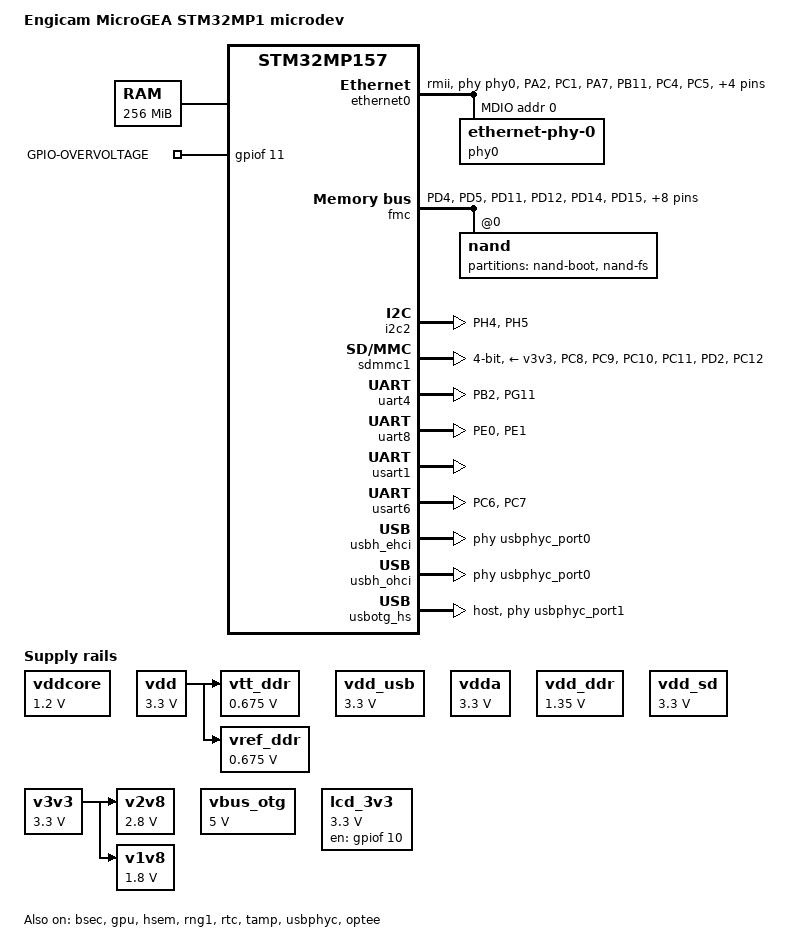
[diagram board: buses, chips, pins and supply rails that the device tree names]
	/* SPDX-License-Identifier: (GPL-2.0+ OR BSD-3-Clause) */
	/*
	* Copyright (C) STMicroelectronics 2020 - All Rights Reserved
	* Author: STM32CubeMX code generation for STMicroelectronics.
	*/

	/* For more information on Device Tree configuration, please refer to
	* https://wiki.st.com/stm32mpu/wiki/Category:Device_tree_configuration
	*/

/dts-v1/;
#include <dt-bindings/pinctrl/stm32-pinfunc.h>

#include "stm32mp157.dtsi"
#include "stm32mp15xa.dtsi"
#include "stm32mp15xxac-pinctrl.dtsi"
#include "stm32mp157-m4-srm.dtsi"

/ {
	model = "Engicam MicroGEA STM32MP1 microdev";
	compatible = "st,stm32mp157a-ugeast-mx", "st,stm32mp157";

	aliases {
		ethernet0 = &ethernet0;
		serial0 = &uart4;
		serial1 = &uart8;
		serial2 = &usart3;
		serial3 = &uart7;
		serial4 = &usart1;
	};

	usb_phy_tuning: usb-phy-tuning {
		st,hs-dc-level = <2>;
		st,fs-rftime-tuning;
		st,hs-rftime-reduction;
		st,hs-current-trim = <15>;
		st,hs-impedance-trim = <1>;
		st,squelch-level = <3>;
		st,hs-rx-offset = <2>;
		st,no-lsfs-sc;
	};

	memory@c0000000 {
		device_type = "memory";
		reg = <0xc0000000 0x10000000>;

		/* USER CODE BEGIN memory */
		/* USER CODE END memory */
	};

	reserved-memory {
		#address-cells = <1>;
		#size-cells = <1>;
		ranges;

		gpu_reserved: gpu@da000000 {
			reg = <0xda000000 0x4000000>;
			no-map;
		};

		optee_memory: optee@0xde000000 {
			reg = <0xde000000 0x02000000>;
			no-map;
		};
	};


	/* USER CODE BEGIN root */
	vddcore: regulator-vddcore {
		compatible = "regulator-fixed";
		regulator-name = "vddcore";
		regulator-min-microvolt = <1200000>;
		regulator-max-microvolt = <1200000>;
		regulator-always-on;
	};

	vdd: regulator-vdd {
		compatible = "regulator-fixed";
		regulator-name = "vdd";
		regulator-min-microvolt = <3300000>;
		regulator-max-microvolt = <3300000>;
		regulator-always-on;
	};

	vdd_usb: regulator-vdd_usb {
		compatible = "regulator-fixed";
		regulator-name = "vdd_usb";
		regulator-min-microvolt = <3300000>;
		regulator-max-microvolt = <3300000>;
		regulator-always-on;
	};

	vdda: regulator-vdda {
		compatible = "regulator-fixed";
		regulator-name = "vdda";
		regulator-min-microvolt = <3300000>;
		regulator-max-microvolt = <3300000>;
		regulator-always-on;
	};

	vdd_ddr: regulator-vdd_ddr {
		compatible = "regulator-fixed";
		regulator-name = "vdd_ddr";
		regulator-min-microvolt = <1350000>;
		regulator-max-microvolt = <1350000>;
		regulator-always-on;
	};

	vtt_ddr: regulator-vtt_ddr {
		compatible = "regulator-fixed";
		regulator-name = "vtt_ddr";
		regulator-min-microvolt = <675000>;
		regulator-max-microvolt = <675000>;
		regulator-always-on;
		vin-supply = <&vdd>;
	};

	vref_ddr: regulator-vref_ddr {
		compatible = "regulator-fixed";
		regulator-name = "vref_ddr";
		regulator-min-microvolt = <675000>;
		regulator-max-microvolt = <675000>;
		regulator-always-on;
		vin-supply = <&vdd>;
	};

	vdd_sd: regulator-vdd_sd {
		compatible = "regulator-fixed";
		regulator-name = "vdd_sd";
		regulator-min-microvolt = <3300000>;
		regulator-max-microvolt = <3300000>;
		regulator-always-on;
	};

	v3v3: regulator-v3v3 {
		compatible = "regulator-fixed";
		regulator-name = "v3v3";
		regulator-min-microvolt = <3300000>;
		regulator-max-microvolt = <3300000>;
		regulator-always-on;
	};

	v2v8: regulator-v2v8 {
		compatible = "regulator-fixed";
		regulator-name = "v2v8";
		regulator-min-microvolt = <2800000>;
		regulator-max-microvolt = <2800000>;
		regulator-always-on;
		vin-supply = <&v3v3>;
	};

	v1v8: regulator-v1v8 {
		compatible = "regulator-fixed";
		regulator-name = "v1v8";
		regulator-min-microvolt = <1800000>;
		regulator-max-microvolt = <1800000>;
		regulator-always-on;
		vin-supply = <&v3v3>;
	};

	vbus_otg: regulator-vbus_otg {
		compatible = "regulator-fixed";
		regulator-name = "vbus_otg";
		regulator-min-microvolt = <5000000>;
		regulator-max-microvolt = <5000000>;
		regulator-always-on;
	};
	
	lcd_3v3: regulator-lcd_3v3 {
		compatible = "regulator-fixed";
		regulator-name = "lcd_3v3";
		regulator-min-microvolt = <3300000>;
		regulator-max-microvolt = <3300000>;
		gpio = <&gpiof 10 0>;
		enable-active-high;
		regulator-always-on;
	};
	/* USER CODE END root */

	clocks {
		#ifndef CONFIG_STM32MP1_TRUSTED
		clk_lsi: clk-lsi {
			clock-frequency = <32000>;
		};
		clk_hsi: clk-hsi {
			clock-frequency = <64000000>;
		};
		clk_csi: clk-csi {
			clock-frequency = <4000000>;
		};
		clk_lse: clk-lse {
			clock-frequency = <32768>;
		};
		clk_hse: clk-hse {
			clock-frequency = <24000000>;
		};
	#endif	/*CONFIG_STM32MP1_TRUSTED*/
	};

	gpio_export {
		compatible = "gpio-export";
		#size-cells = <0>;
		gpio-overvoltage {
			gpio-export,name = "GPIO-OVERVOLTAGE";
			gpio-export,output = <0>;
			gpios = <&gpiof 11 0>;
		};
	};
};

&pinctrl {
	u-boot,dm-pre-reloc;

	eth1_pins_mx: eth1_mx-0 {
		pins1 {
			pinmux = <STM32_PINMUX('A', 2, AF11)>, /* ETH_MDIO */
				<STM32_PINMUX('C', 1, AF11)>, /* ETH_MDC */
				<STM32_PINMUX('A', 7, AF11)>, /* ETH_RX_DV */
				<STM32_PINMUX('B', 11, AF11)>, /* ETH_TX_EN */
				<STM32_PINMUX('C', 4, AF11)>, /* ETH_RX_D0 */
				<STM32_PINMUX('C', 5, AF11)>, /* ETH_RX_D1 */
				<STM32_PINMUX('G', 13, AF11)>, /* ETH_TX_D0 */
				<STM32_PINMUX('G', 14, AF11)>; /* ETH_TX_D1 */
			bias-disable;
			drive-push-pull;
			slew-rate = <3>;
		};

		pins2 {
			pinmux = <STM32_PINMUX('A', 1, AF0)>; /* ETH_CLK */
			bias-disable;
			slew-rate = <1>;
		};
	};

	eth_res: eth_res-0 {
		pins {
			pinmux = <STM32_PINMUX('A', 13, GPIO)>;
			bias-disable;
			drive-push-pull;
			output-high;
			slew-rate = <0>;
		};
	};

	fdcan1_pins_mx: fdcan1_mx-0 {
		pins1 {
			pinmux = <STM32_PINMUX('B', 9, AF9)>; /* FDCAN1_TX */
			bias-disable;
			drive-push-pull;
			slew-rate = <0>;
		};
		pins2 {
			pinmux = <STM32_PINMUX('I', 9, AF9)>; /* FDCAN1_RX */
			bias-disable;
		};
	};

	fmc_pins_mx: fmc_mx-0 {
		pins1 {
				pinmux = <STM32_PINMUX('D', 4, AF12)>, /* FMC_NOE */
								<STM32_PINMUX('D', 5, AF12)>, /* FMC_NWE */
								<STM32_PINMUX('D', 11, AF12)>, /* FMC_A16_FMC_CLE */
								<STM32_PINMUX('D', 12, AF12)>, /* FMC_A17_FMC_ALE */
								<STM32_PINMUX('D', 14, AF12)>, /* FMC_D0 */
								<STM32_PINMUX('D', 15, AF12)>, /* FMC_D1 */
								<STM32_PINMUX('D', 0, AF12)>, /* FMC_D2 */
								<STM32_PINMUX('D', 1, AF12)>, /* FMC_D3 */
								<STM32_PINMUX('E', 7, AF12)>, /* FMC_D4 */
								<STM32_PINMUX('E', 8, AF12)>, /* FMC_D5 */
								<STM32_PINMUX('E', 9, AF12)>, /* FMC_D6 */
								<STM32_PINMUX('E', 10, AF12)>, /* FMC_D7 */
								<STM32_PINMUX('G', 9, AF12)>; /* FMC_NE2_FMC_NCE */
				bias-disable;
				drive-push-pull;
				slew-rate = <1>;
		};
		pins2 {
				pinmux = <STM32_PINMUX('D', 6, AF12)>; /* FMC_NWAIT */
				bias-pull-up;
		};
	};

	i2c2_pins_mx: i2c2_mx-0 {
		pins {
			pinmux = <STM32_PINMUX('H', 4, AF4)>, /* I2C2_SCL */
						<STM32_PINMUX('H', 5, AF4)>; /* I2C2_SDA */
			bias-disable;
			drive-open-drain;
			slew-rate = <0>;
		};
	};

	rtc_pins_mx: rtc_mx-0 {
		pins {
			pinmux = <STM32_PINMUX('I', 8, ANALOG)>; /* RTC_LSCO */
		};
	};

	sai2b_pins_mx: sai2b_mx-0 {
		pins {
			pinmux = <STM32_PINMUX('E', 11, AF10)>, /* SAI2_SD_B */
						<STM32_PINMUX('E', 12, AF10)>, /* SAI2_SCK_B */
						<STM32_PINMUX('E', 13, AF10)>, /* SAI2_FS_B */
						<STM32_PINMUX('E', 14, AF10)>; /* SAI2_MCLK_B */
			bias-disable;
			drive-push-pull;
			slew-rate = <0>;
		};
	};

	sdmmc1_pins_mx: sdmmc1_mx-0 {
		u-boot,dm-pre-reloc;
		pins1 {
			pinmux = <STM32_PINMUX('C', 8, AF12)>, /* SDMMC1_D0 */
								<STM32_PINMUX('C', 9, AF12)>, /* SDMMC1_D1 */
								<STM32_PINMUX('C', 10, AF12)>, /* SDMMC1_D2 */
								<STM32_PINMUX('C', 11, AF12)>, /* SDMMC1_D3 */
								<STM32_PINMUX('D', 2, AF12)>; /* SDMMC1_CMD */
			slew-rate = <3>;
			drive-push-pull;
			bias-pull-up;
		};
		pins2 {
			pinmux = <STM32_PINMUX('C', 12, AF12)>; /* SDMMC1_CK */
			slew-rate = <3>;
			drive-push-pull;
			bias-pull-down;
		};
	};

	sdmmc1_opendrain_pins_mx: sdmmc1_opendrain_mx-0 {
		u-boot,dm-pre-reloc;
		pins1 {
			u-boot,dm-pre-reloc;
			pinmux = <STM32_PINMUX('C', 8, AF12)>, /* SDMMC1_D0 */
						<STM32_PINMUX('C', 9, AF12)>, /* SDMMC1_D1 */
						<STM32_PINMUX('C', 10, AF12)>, /* SDMMC1_D2 */
						<STM32_PINMUX('C', 11, AF12)>; /* SDMMC1_D3 */
			bias-disable;
			drive-push-pull;
			slew-rate = <1>;
		};
		pins2 {
			u-boot,dm-pre-reloc;
			pinmux = <STM32_PINMUX('C', 12, AF12)>; /* SDMMC1_CK */
			bias-disable;
			drive-push-pull;
			slew-rate = <3>;
		};
		pins3 {
			u-boot,dm-pre-reloc;
			pinmux = <STM32_PINMUX('D', 2, AF12)>; /* SDMMC1_CMD */
			bias-disable;
			drive-open-drain;
			slew-rate = <1>;
		};
	};

	uart4_pins_mx: uart4_mx-0 {
		u-boot,dm-pre-reloc;
		pins1 {
			u-boot,dm-pre-reloc;
			pinmux = <STM32_PINMUX('B', 2, AF8)>; /* UART4_RX */
			bias-disable;
		};
		pins2 {
			u-boot,dm-pre-reloc;
			pinmux = <STM32_PINMUX('G', 11, AF6)>; /* UART4_TX */
			bias-disable;
			drive-push-pull;
			slew-rate = <0>;
		};
	};

	uart7_pins_mx: uart7_mx-0 {
		pins1 {
			pinmux = <STM32_PINMUX('B', 3, AF13)>; /* UART7_RX */
			bias-disable;
		};
		pins2 {
			pinmux = <STM32_PINMUX('B', 4, AF13)>; /* UART7_TX */
			bias-disable;
			drive-push-pull;
			slew-rate = <0>;
		};
	};

	uart8_pins_mx: uart8_mx-0 {
		pins1 {
			pinmux = <STM32_PINMUX('E', 0, AF8)>; /* UART8_RX */
			bias-disable;
		};
		pins2 {
			pinmux = <STM32_PINMUX('E', 1, AF8)>; /* UART8_TX */
			bias-disable;
			drive-push-pull;
			slew-rate = <0>;
		};
	};

	usart3_pins_mx: usart3_mx-0 {
		u-boot,dm-pre-reloc;
		pins1 {
			u-boot,dm-pre-reloc;
			pinmux = <STM32_PINMUX('B', 10, AF7)>; /* USART3_TX */
			bias-disable;
			drive-push-pull;
			slew-rate = <0>;
		};
		pins2 {
			u-boot,dm-pre-reloc;
			pinmux = <STM32_PINMUX('B', 12, AF8)>; /* USART3_RX */
			bias-disable;
		};
	};

	usart6_pins_mx: usart6_mx-0 {
		u-boot,dm-pre-reloc;
		pins1 {
			u-boot,dm-pre-reloc;
			pinmux = <STM32_PINMUX('C', 6, AF7)>; /* USART6_TX */
			bias-disable;
			drive-push-pull;
			slew-rate = <0>;
		};
		pins2 {
			u-boot,dm-pre-reloc;
			pinmux = <STM32_PINMUX('C', 7, AF7)>; /* USART6_RX */
			bias-disable;
		};
	};

	i2c4_sleep_pins_mx: i2c4_sleep_mx-0 {
			pins {
					pinmux = <STM32_PINMUX('H', 11, ANALOG)>, /* I2C4_SCL */
									 <STM32_PINMUX('H', 12, ANALOG)>; /* I2C4_SDA */
			};
	};
	ltdc_sleep_pins_mx: ltdc_sleep_mx-0 {
			pins {
					pinmux = <STM32_PINMUX('A', 3, ANALOG)>, /* LTDC_B2 */
									 <STM32_PINMUX('A', 4, ANALOG)>, /* LTDC_VSYNC */
									 <STM32_PINMUX('A', 8, ANALOG)>, /* LTDC_R6 */
									 <STM32_PINMUX('A', 9, ANALOG)>, /* LTDC_R5 */
									 <STM32_PINMUX('A', 15, ANALOG)>, /* LTDC_R1 */
									 <STM32_PINMUX('D', 10, ANALOG)>, /* LTDC_B3 */
									 <STM32_PINMUX('E', 4, ANALOG)>, /* LTDC_B0 */
									 <STM32_PINMUX('E', 5, ANALOG)>, /* LTDC_G0 */
									 <STM32_PINMUX('E', 6, ANALOG)>, /* LTDC_G1 */
									 <STM32_PINMUX('F', 10, ANALOG)>, /* LTDC_DE */
									 <STM32_PINMUX('G', 6, ANALOG)>, /* LTDC_R7 */
									 <STM32_PINMUX('G', 7, ANALOG)>, /* LTDC_CLK */
									 <STM32_PINMUX('G', 12, ANALOG)>, /* LTDC_B1 */
									 <STM32_PINMUX('H', 2, ANALOG)>, /* LTDC_R0 */
									 <STM32_PINMUX('H', 8, ANALOG)>, /* LTDC_R2 */
									 <STM32_PINMUX('H', 9, ANALOG)>, /* LTDC_R3 */
									 <STM32_PINMUX('H', 10, ANALOG)>, /* LTDC_R4 */
									 <STM32_PINMUX('H', 13, ANALOG)>, /* LTDC_G2 */
									 <STM32_PINMUX('H', 14, ANALOG)>, /* LTDC_G3 */
									 <STM32_PINMUX('H', 15, ANALOG)>, /* LTDC_G4 */
									 <STM32_PINMUX('I', 0, ANALOG)>, /* LTDC_G5 */
									 <STM32_PINMUX('I', 1, ANALOG)>, /* LTDC_G6 */
									 <STM32_PINMUX('I', 2, ANALOG)>, /* LTDC_G7 */
									 <STM32_PINMUX('I', 4, ANALOG)>, /* LTDC_B4 */
									 <STM32_PINMUX('I', 5, ANALOG)>, /* LTDC_B5 */
									 <STM32_PINMUX('I', 6, ANALOG)>, /* LTDC_B6 */
									 <STM32_PINMUX('I', 7, ANALOG)>, /* LTDC_B7 */
									 <STM32_PINMUX('I', 10, ANALOG)>; /* LTDC_HSYNC */
			};
	};
};

&pinctrl_z {
	u-boot,dm-pre-reloc;

	usart1_pins_z_mx: usart1_mx-0 {
		u-boot,dm-pre-reloc;
		pins1 {
			u-boot,dm-pre-reloc;
			pinmux = <STM32_PINMUX('Z', 6, AF7)>; /* USART1_RX */
			bias-disable;
		};
		pins2 {
			u-boot,dm-pre-reloc;
			pinmux = <STM32_PINMUX('Z', 7, AF7)>; /* USART1_TX */
			bias-disable;
			drive-push-pull;
			slew-rate = <0>;
		};
	};

	/* USER CODE BEGIN pinctrl_z */
	/* USER CODE END pinctrl_z */
};

&bsec{
	status = "okay";

/* USER CODE BEGIN bsec */
/* USER CODE END bsec */
};

&ethernet0 {
	pinctrl-names = "default";
	pinctrl-0 = <&eth1_pins_mx  &eth_res>;
	phy-mode = "rmii";
	max-speed = <100>;
	phy-handle = <&phy0>;
	snps,ps-speed = <100>;
	st,eth-ref-clk-sel = <1>;
	status = "okay";

	clock-names = "stmmaceth",
							"mac-clk-tx",
							"mac-clk-rx",
							"ethstp",
							"syscfg-clk",
							"eth-ck";

	clocks = <&rcc ETHMAC>,
					<&rcc ETHTX>,
					<&rcc ETHRX>,
					<&rcc ETHSTP>,
					<&rcc SYSCFG>,
					<&rcc ETHCK_K>;

	mdio0 {
		#address-cells = <1>;
		#size-cells = <0>;
		compatible = "snps,dwmac-mdio";
		snps,reset-gpio = <&gpioa 13 0>;
		snps,reset-delays-us = <25>;
		snps,reset-active-low;

		phy0: ethernet-phy-0 {
			reg = <0>;
		};
	};
};

&fmc {
	pinctrl-names = "default";
	pinctrl-0 = <&fmc_pins_mx>;
	status = "okay";
	#address-cells = <1>;
	#size-cells = <0>;

	nand: nand@0 {
		reg = <0>;
		nand-on-flash-bbt;
		#address-cells = <1>;
		#size-cells = <1>;

		partition@0 {
			label = "nand-boot";
			reg = <0x00000000 0x01400000>;
		};

		partition@1400000 {
			label = "nand-fs";
			reg = <0x01400000 0x1e000000>;
		};
	};
};

&gpu {
	status = "okay";

/* USER CODE BEGIN gpu */
/* USER CODE END gpu */
};

&hsem {
	status = "okay";

/* USER CODE BEGIN hsem */
/* USER CODE END hsem */
};

&i2c2 {
	pinctrl-names = "default";
	pinctrl-0 = <&i2c2_pins_mx>;
	status = "okay";

/* USER CODE BEGIN i2c2 */
/* USER CODE END i2c2 */
};

&m_can1 {
	pinctrl-names = "default";
	pinctrl-0 = <&fdcan1_pins_mx>;
	status = "disabled";

/* USER CODE BEGIN m_can1 */
/* USER CODE END m_can1 */
};

&mdma1 {
	status = "okay";

/* USER CODE BEGIN mdma1 */
/* USER CODE END mdma1 */
};

&rcc {
	u-boot,dm-pre-reloc;
	status = "okay";

/* USER CODE BEGIN rcc */
/* USER CODE END rcc */
};

&rng1 {
	status = "okay";

/* USER CODE BEGIN rng1 */
/* USER CODE END rng1 */
};

&rtc {
	pinctrl-names = "default";
	pinctrl-0 = <&rtc_pins_mx>;
	status = "okay";

/* USER CODE BEGIN rtc */
/* USER CODE END rtc */
};

&sai2 {
	pinctrl-names = "default";
	pinctrl-0 = <&sai2b_pins_mx>;
	status = "disabled";

/* USER CODE BEGIN sai2 */
/* USER CODE END sai2 */

	sai2b:audio-controller@4400b024{
		status = "disabled";

/* USER CODE BEGIN sai2b */
/* USER CODE END sai2b */
};
};

&sdmmc1{
	u-boot,dm-pre-reloc;
	pinctrl-names = "default", "opendrain";
	pinctrl-0 = <&sdmmc1_pins_mx>;
	pinctrl-1 = <&sdmmc1_opendrain_pins_mx>;
	status = "okay";

	/* USER CODE BEGIN sdmmc1 */
	broken-cd;
	disable-wp;
	st,neg-edge;
	bus-width = <4>;
	max-frequency = <10000000>;
	vmmc-supply = <&v3v3>;
/* USER CODE END sdmmc1 */
};

&tamp{
	status = "okay";

/* USER CODE BEGIN tamp */
/* USER CODE END tamp */
};


&uart4{
	u-boot,dm-pre-reloc;
	pinctrl-names = "default";
	pinctrl-0 = <&uart4_pins_mx>;
	status = "okay";

	/* USER CODE BEGIN uart4 */
	/* USER CODE END uart4 */
};

&uart7{
	pinctrl-names = "default";
	pinctrl-0 = <&uart7_pins_mx>;
	status = "disable";

	/* USER CODE BEGIN uart7 */
	/* USER CODE END uart7 */
};

&uart8{
	pinctrl-names = "default";
	pinctrl-0 = <&uart8_pins_mx>;
	status = "okay";

	/* USER CODE BEGIN uart8 */
	/* USER CODE END uart8 */
};

&usart1{
	u-boot,dm-pre-reloc;
	pinctrl-names = "default";
	pinctrl-0 = <&usart1_pins_z_mx>;
	status = "okay";

	/* USER CODE BEGIN usart1 */
	/* USER CODE END usart1 */
};

&usart3{
	u-boot,dm-pre-reloc;
	pinctrl-names = "default";
	pinctrl-0 = <&usart3_pins_mx>;
	status = "disabled";

	/* USER CODE BEGIN usart3 */
	/* USER CODE END usart3 */
};

&usart6{
	u-boot,dm-pre-reloc;
	pinctrl-names = "default";
	pinctrl-0 = <&usart6_pins_mx>;
	status = "okay";

	/* USER CODE BEGIN usart6 */
	/* USER CODE END usart6 */
};

&usbh_ehci {
	phys = <&usbphyc_port0>;
	phy-names = "usb";
	status = "okay";
};

&usbh_ohci {
	phys = <&usbphyc_port0>;
	phy-names = "usb";
	status = "okay";
};

&usbotg_hs {
	dr_mode = "host";
	force-b-session-valid;
	phys = <&usbphyc_port1 0>;
	phy-names = "usb2-phy";
	status = "okay";
};

&usbphyc {
	status = "okay";
};

&usbphyc_port0 {
	st,phy-tuning = <&usb_phy_tuning>;
};

&usbphyc_port1 {
	st,phy-tuning = <&usb_phy_tuning>;
};

/* USER CODE BEGIN addons */
&cpu0{
	cpu-supply = <&vddcore>;
};

&cpu1{
	cpu-supply = <&vddcore>;
};

&optee {
	status = "okay";
};
/* USER CODE END addons */
